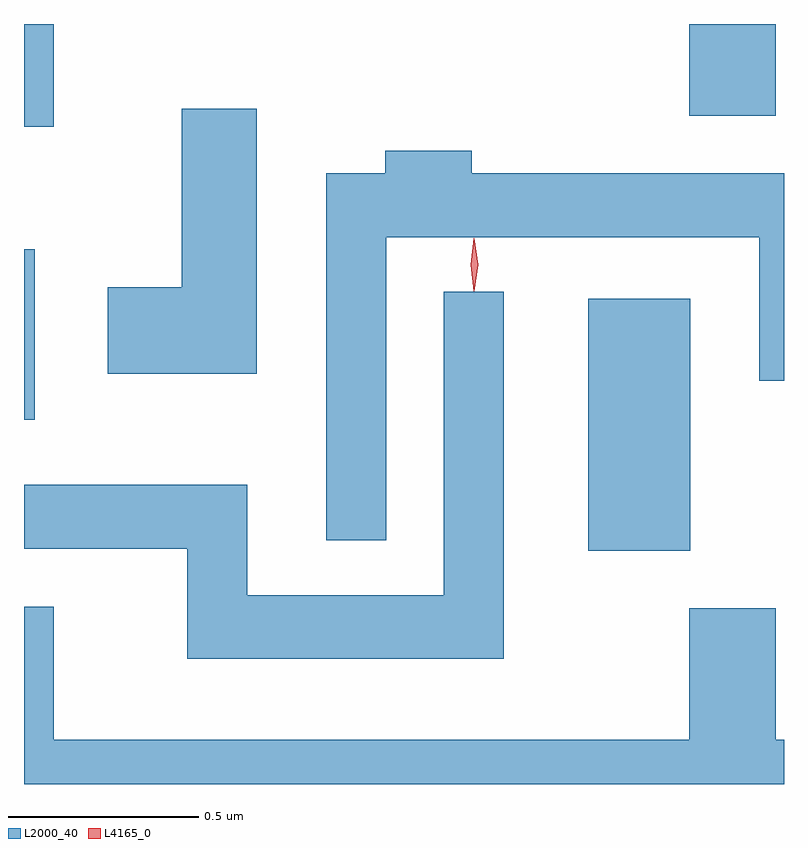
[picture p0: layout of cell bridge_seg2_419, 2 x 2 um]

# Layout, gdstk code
import gdstk
lib = gdstk.Library(unit=1e-6, precision=1e-09)
def R(c, l, rs):  # rectangles x0, y0, x1, y1
    for r in rs: c.add(gdstk.rectangle(r[:2], r[2:], *l))
def P(c, l, *ps):  # polygons
    for p in ps: c.add(gdstk.Polygon(p, *l))
L2000_40 = (2000, 40)
L4165_0 = (4165, 0)

bridge_seg2_419 = lib.new_cell('bridge_seg2_419')
R(bridge_seg2_419, L2000_40, [(629.656,1013.561,629.924,1014.224), (628.171,1013.906,628.199,1014.354), (628.171,1014.676,628.249,1014.947), (629.921,1014.706,630.149,1014.947)])
P(bridge_seg2_419, L2000_40, [(628.784,1014.724),(628.586,1014.724),(628.586,1014.254),(628.391,1014.254),(628.391,1014.026),(628.784,1014.026)],
  [(629.124,1014.386),(630.106,1014.386),(630.106,1014.008),(630.171,1014.008),(630.171,1014.554),(629.349,1014.554),(629.349,1014.614),(629.121,1014.614),(629.121,1014.554),(628.966,1014.554),(628.966,1013.588),(629.124,1013.588)],
  [(629.434,1014.243),(629.276,1014.243),(629.276,1013.444),(628.759,1013.444),(628.759,1013.734),(628.171,1013.734),(628.171,1013.566),(628.601,1013.566),(628.601,1013.276),(629.434,1013.276)],
  [(630.171,1013.064),(630.149,1013.064),(630.149,1013.409),(629.921,1013.409),(629.921,1013.064),(628.249,1013.064),(628.249,1013.414),(628.171,1013.414),(628.171,1012.947),(630.171,1012.947)])
P(bridge_seg2_419, L4165_0, [(629.355,1014.244),(629.346,1014.313),(629.355,1014.383),(629.356,1014.383),(629.356,1014.383),(629.366,1014.313),(629.356,1014.244),(629.356,1014.244)])

lib.write_gds('bridge_seg2_419.gds')
